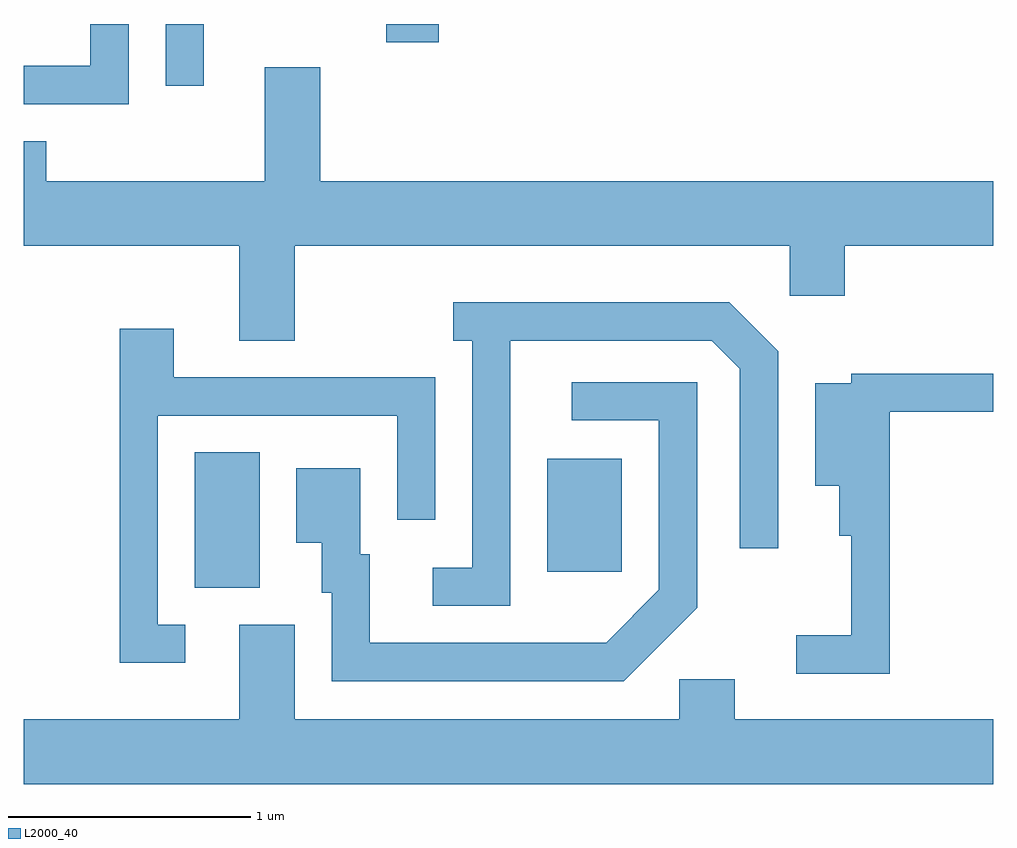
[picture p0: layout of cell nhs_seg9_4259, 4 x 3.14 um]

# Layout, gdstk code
import gdstk
lib = gdstk.Library(unit=1e-6, precision=1e-09)
def R(c, l, rs):  # rectangles x0, y0, x1, y1
    for r in rs: c.add(gdstk.rectangle(r[:2], r[2:], *l))
def P(c, l, *ps):  # polygons
    for p in ps: c.add(gdstk.Polygon(p, *l))
L2000_40 = (2000, 40)

nhs_seg9_4259 = lib.new_cell('nhs_seg9_4259')
R(nhs_seg9_4259, L2000_40, [(310.316,2068.106,310.584,2068.664), (311.771,2068.171,312.079,2068.639), (310.196,2070.178,310.354,2070.432), (311.106,2070.356,311.324,2070.432)])
P(nhs_seg9_4259, L2000_40, [(310.044,2070.432),(309.886,2070.432),(309.886,2070.259),(309.611,2070.259),(309.611,2070.101),(310.044,2070.101)],
  [(310.729,2069.516),(312.771,2069.516),(312.771,2069.311),(312.999,2069.311),(312.999,2069.516),(313.611,2069.516),(313.611,2069.784),(310.834,2069.784),(310.834,2070.254),(310.606,2070.254),(310.606,2069.784),(309.704,2069.784),(309.704,2069.949),(309.611,2069.949),(309.611,2069.516),(310.501,2069.516),(310.501,2069.126),(310.729,2069.126)],
  [(311.619,2069.126),(312.449,2069.126),(312.566,2069.009),(312.566,2068.268),(312.724,2068.268),(312.724,2069.082),(312.522,2069.284),(311.383,2069.284),(311.383,2069.126),(311.461,2069.126),(311.461,2068.189),(311.298,2068.189),(311.298,2068.031),(311.619,2068.031)],
  [(310.278,2067.954),(310.164,2067.954),(310.164,2068.816),(311.151,2068.816),(311.151,2068.387),(311.309,2068.387),(311.309,2068.974),(310.229,2068.974),(310.229,2069.174),(310.006,2069.174),(310.006,2067.796),(310.278,2067.796)],
  [(313.184,2068.831),(313.611,2068.831),(313.611,2068.989),(313.026,2068.989),(313.026,2068.949),(312.876,2068.949),(312.876,2068.526),(312.976,2068.526),(312.976,2068.321),(313.026,2068.321),(313.026,2067.909),(312.798,2067.909),(312.798,2067.751),(313.184,2067.751)],
  [(312.389,2068.024),(312.389,2068.954),(311.873,2068.954),(311.873,2068.796),(312.231,2068.796),(312.231,2068.097),(312.014,2067.879),(311.039,2067.879),(311.039,2068.244),(310.999,2068.244),(310.999,2068.599),(310.736,2068.599),(310.736,2068.291),(310.841,2068.291),(310.841,2068.086),(310.881,2068.086),(310.881,2067.721),(312.087,2067.721)],
  [(313.611,2067.564),(312.544,2067.564),(312.544,2067.729),(312.316,2067.729),(312.316,2067.564),(310.729,2067.564),(310.729,2067.954),(310.501,2067.954),(310.501,2067.564),(309.611,2067.564),(309.611,2067.296),(313.611,2067.296)])

lib.write_gds('nhs_seg9_4259.gds')
